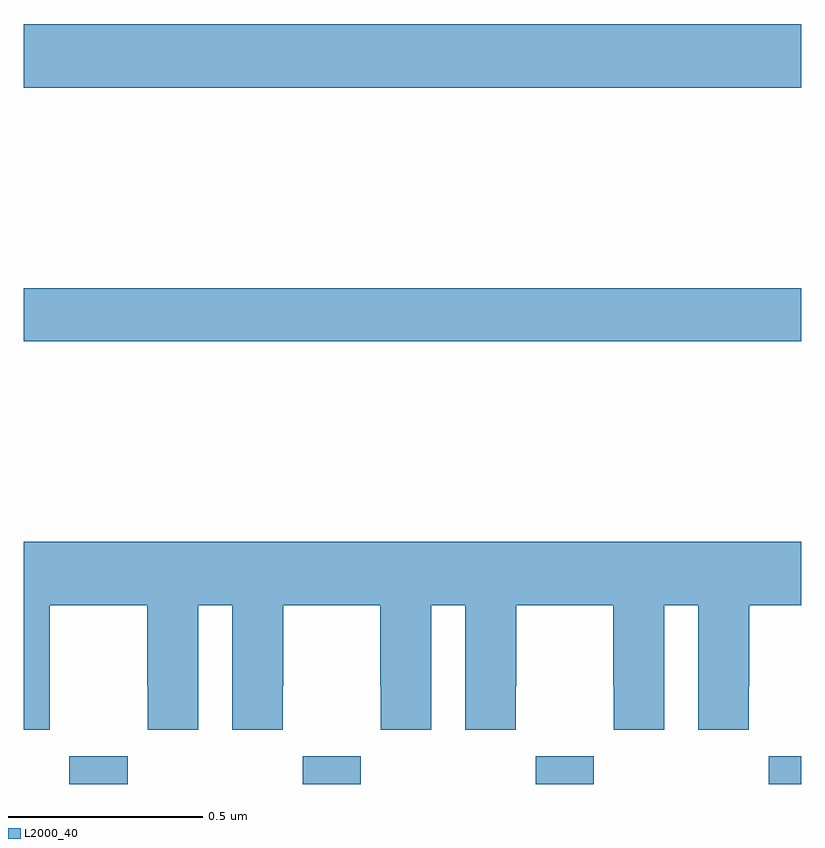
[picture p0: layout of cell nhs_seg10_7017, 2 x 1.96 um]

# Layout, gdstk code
import gdstk
lib = gdstk.Library(unit=1e-6, precision=1e-09)
def R(c, l, rs):  # rectangles x0, y0, x1, y1
    for r in rs: c.add(gdstk.rectangle(r[:2], r[2:], *l))
def A(c, l, x, y, w, h, nx, ny, dx, dy):  # array of equal rectangles
    R(c, l, [(x+i*dx, y+j*dy, x+i*dx+w, y+j*dy+h) for i in range(nx) for j in range(ny)])
def P(c, l, *ps):  # polygons
    for p in ps: c.add(gdstk.Polygon(p, *l))
L2000_40 = (2000, 40)

nhs_seg10_7017 = lib.new_cell('nhs_seg10_7017')
A(nhs_seg10_7017, L2000_40, 198.117, 1322.5, 0.15, 0.072, 3, 1, 0.6, 0)
R(nhs_seg10_7017, L2000_40, [(199.917,1322.5,200,1322.572), (198,1323.64,200,1323.776), (198,1324.292,200,1324.456)])
P(nhs_seg10_7017, L2000_40, [(198.066,1322.752),(198.067,1322.752),(198.067,1322.96),(198.317,1322.96),(198.317,1322.752),(198.318,1322.752),(198.318,1322.64),(198.448,1322.64),(198.448,1322.96),(198.536,1322.96),(198.536,1322.64),(198.666,1322.64),(198.666,1322.752),(198.667,1322.752),(198.667,1322.96),(198.917,1322.96),(198.917,1322.752),(198.918,1322.752),(198.918,1322.64),(199.048,1322.64),(199.048,1322.96),(199.136,1322.96),(199.136,1322.64),(199.266,1322.64),(199.266,1322.752),(199.267,1322.752),(199.267,1322.96),(199.517,1322.96),(199.517,1322.752),(199.518,1322.752),(199.518,1322.64),(199.648,1322.64),(199.648,1322.96),(199.736,1322.96),(199.736,1322.64),(199.866,1322.64),(199.866,1322.752),(199.867,1322.752),(199.867,1322.96),(200,1322.96),(200,1323.124),(198,1323.124),(198,1322.64),(198.066,1322.64)])

lib.write_gds('nhs_seg10_7017.gds')
